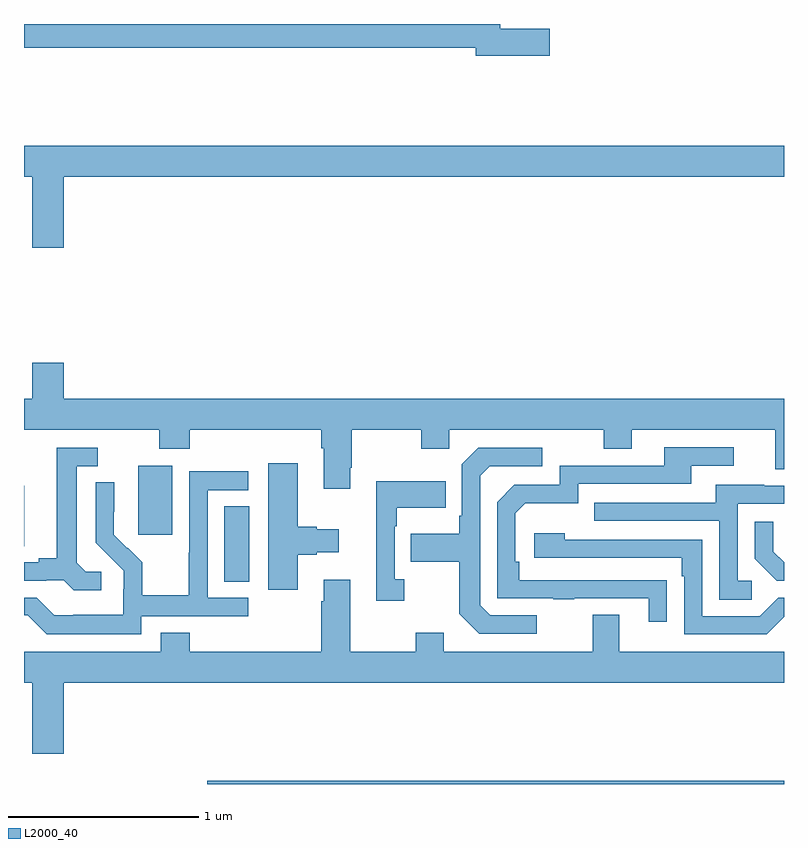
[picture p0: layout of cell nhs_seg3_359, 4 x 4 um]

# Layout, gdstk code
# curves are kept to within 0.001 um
import gdstk
lib = gdstk.Library(unit=1e-6, precision=1e-09)
def R(c, l, rs):  # rectangles x0, y0, x1, y1
    for r in rs: c.add(gdstk.rectangle(r[:2], r[2:], *l))
def P(c, l, *ps):  # polygons
    for p in ps: c.add(gdstk.Polygon(p, *l))
L2000_40 = (2000, 40)

nhs_seg3_359 = lib.new_cell('nhs_seg3_359')
R(nhs_seg3_359, L2000_40, [(129.965,684.4,133,684.416), (130.055,685.465,130.186,685.862), (129,685.651,129.001,685.971), (129.602,685.713,129.781,686.074)])
P(nhs_seg3_359, L2000_40, [(131.767,688.376),(131.506,688.376),(131.506,688.4),(129,688.4),(129,688.276),(131.378,688.276),(131.378,688.234),(131.767,688.234)],
  [(129.208,687.596),(133,687.596),(133,687.76),(129,687.76),(129,687.596),(129.044,687.596),(129.044,687.222),(129.208,687.222)],
  [(130.717,686.065),(130.725,686.065),(130.725,686.264),(131.092,686.264),(131.092,686.165),(131.238,686.165),(131.238,686.264),(132.052,686.264),(132.052,686.165),(132.199,686.165),(132.199,686.264),(132.953,686.264),(132.953,686.056),(133,686.056),(133,686.428),(129.208,686.428),(129.208,686.617),(129.044,686.617),(129.044,686.428),(129,686.428),(129,686.264),(129.712,686.264),(129.712,686.165),(129.872,686.165),(129.872,686.264),(130.565,686.264),(130.565,686.168),(130.577,686.168),(130.577,685.953),(130.717,685.953)],
  [(132.383,685.472),(131.606,685.473),(131.606,685.57),(131.586,685.57),(131.586,685.824),(131.639,685.877),(131.916,685.877),(131.916,685.98),(132.511,685.98),(132.511,686.076),(132.736,686.076),(132.736,686.172),(132.371,686.172),(132.371,686.076),(131.82,686.076),(131.82,685.974),(131.58,685.974),(131.49,685.884),(131.49,685.377),(131.785,685.377),(131.785,685.372),(131.897,685.372),(131.897,685.377),(132.287,685.377),(132.287,685.254),(132.383,685.254)],
  [(129.406,685.518),(129.324,685.518),(129.277,685.565),(129.277,686.073),(129.388,686.073),(129.388,686.169),(129.173,686.169),(129.173,685.589),(129.077,685.589),(129.077,685.566),(129,685.566),(129,685.47),(129.116,685.47),(129.116,685.473),(129.21,685.473),(129.262,685.421),(129.406,685.421)],
  [(131.698,685.287),(131.454,685.287),(131.4,685.341),(131.4,686.022),(131.451,686.073),(131.728,686.073),(131.728,686.169),(131.391,686.169),(131.304,686.082),(131.304,685.813),(131.292,685.813),(131.292,685.717),(131.035,685.717),(131.035,685.57),(131.292,685.57),(131.292,685.297),(131.397,685.191),(131.698,685.191)],
  [(130.441,685.607),(130.541,685.607),(130.541,685.619),(130.657,685.619),(130.657,685.741),(130.541,685.741),(130.541,685.754),(130.441,685.754),(130.441,686.089),(130.286,686.089),(130.286,685.422),(130.441,685.422)],
  [(129.618,685.284),(130.18,685.284),(130.18,685.38),(129.966,685.38),(129.966,685.947),(130.18,685.947),(130.18,686.046),(129.87,686.046),(129.87,685.616),(129.868,685.616),(129.868,685.393),(129.623,685.393),(129.623,685.567),(129.546,685.644),(129.543,685.641),(129.473,685.712),(129.474,685.988),(129.378,685.988),(129.378,685.67),(129.524,685.522),(129.524,685.425),(129.522,685.425),(129.522,685.291),(129.259,685.291),(129.259,685.287),(129.159,685.287),(129.066,685.38),(129,685.38),(129,685.287),(129.021,685.287),(129.121,685.187),(129.618,685.187)],
  [(131.002,685.478),(130.95,685.478),(130.95,685.757),(130.963,685.757),(130.963,685.853),(131.219,685.853),(131.219,685.993),(130.853,685.993),(130.853,685.365),(131.002,685.365)],
  [(132.829,685.47),(132.756,685.47),(132.756,685.875),(133,685.875),(133,685.971),(132.895,685.971),(132.895,685.975),(132.641,685.975),(132.641,685.881),(132.001,685.881),(132.001,685.785),(132.66,685.785),(132.66,685.369),(132.829,685.369)],
  [(133,685.566),(132.943,685.623),(132.943,685.78),(132.846,685.78),(132.846,685.586),(132.962,685.47),(133,685.47)],
  [(133,685.279),(133,685.38),(132.969,685.38),(132.873,685.284),(132.57,685.284),(132.57,685.686),(131.846,685.686),(131.846,685.72),(131.685,685.72),(131.685,685.59),(132.461,685.59),(132.461,685.493),(132.474,685.493),(132.474,685.188),(132.909,685.188)],
  [(129.208,684.932),(133,684.932),(133,685.096),(132.133,685.096),(132.133,685.291),(131.993,685.291),(131.993,685.096),(131.209,685.096),(131.209,685.195),(131.062,685.195),(131.062,685.096),(130.717,685.096),(130.717,685.474),(130.577,685.474),(130.577,685.361),(130.565,685.361),(130.565,685.096),(129.872,685.096),(129.872,685.195),(129.719,685.195),(129.719,685.096),(129,685.096),(129,684.932),(129.044,684.932),(129.044,684.558),(129.208,684.558)])

lib.write_gds('nhs_seg3_359.gds')
